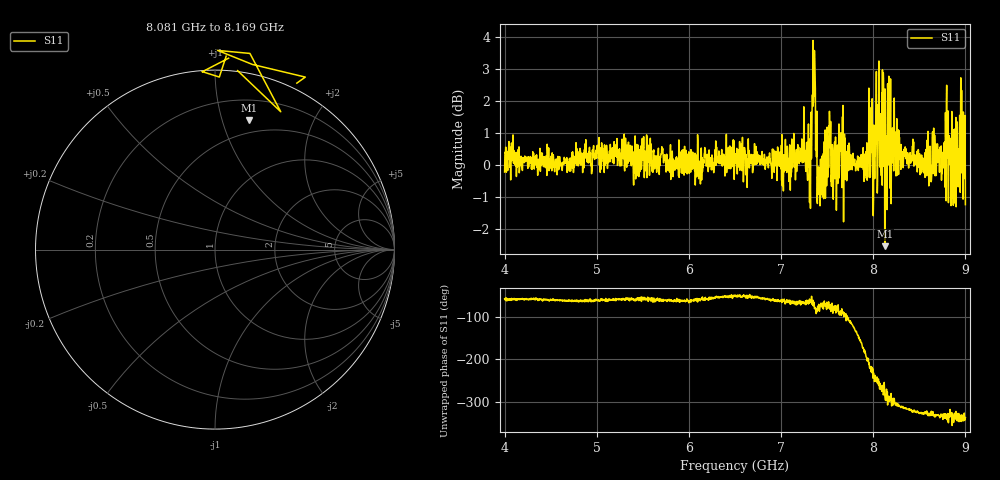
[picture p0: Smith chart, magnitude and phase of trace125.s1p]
! Created with skrf 1.8.0 (http://scikit-rf.org).
# Hz S RI R 50.0
!freq ReS11 ImS11
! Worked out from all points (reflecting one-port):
!   1601 points, 4 GHz to 9 GHz, reference 50 ohm
!   lowest |S11| = -2.6 dB at 8.125 GHz (marker M1), VSWR 6.86, Z = 18.9 + j61.3 ohm
!   phase of S11 starts at -57 deg and turns -281 deg over the sweep
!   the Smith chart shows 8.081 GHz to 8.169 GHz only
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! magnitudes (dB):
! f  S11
! 4 GHz  -0.2
! 4.625 GHz  -0.2
! 5.25 GHz  0.0
! 5.875 GHz  0.0
! 6.5 GHz  0.3
! 7.125 GHz  -0.1
! 7.238 GHz  0.3
! 7.294 GHz  0.4
! 7.319 GHz  -1.4
! 7.347 GHz  3.9
! 7.362 GHz  3.6
! 7.397 GHz  -0.4
! 7.416 GHz  -0.9
! 7.512 GHz  0.9
! 7.566 GHz  -1.1
! 7.65 GHz  1.0
! 7.75 GHz  -0.1
! 7.919 GHz  -0.3
! 7.969 GHz  -0.4
! 8.022 GHz  0.3
! 8.038 GHz  0.6
! 8.125 GHz  -2.6
! 8.375 GHz  0.4
! 8.612 GHz  -0.3
! 8.784 GHz  1.6
! 8.869 GHz  -1.3
! 8.959 GHz  2.3
! 9 GHz  -1.2
